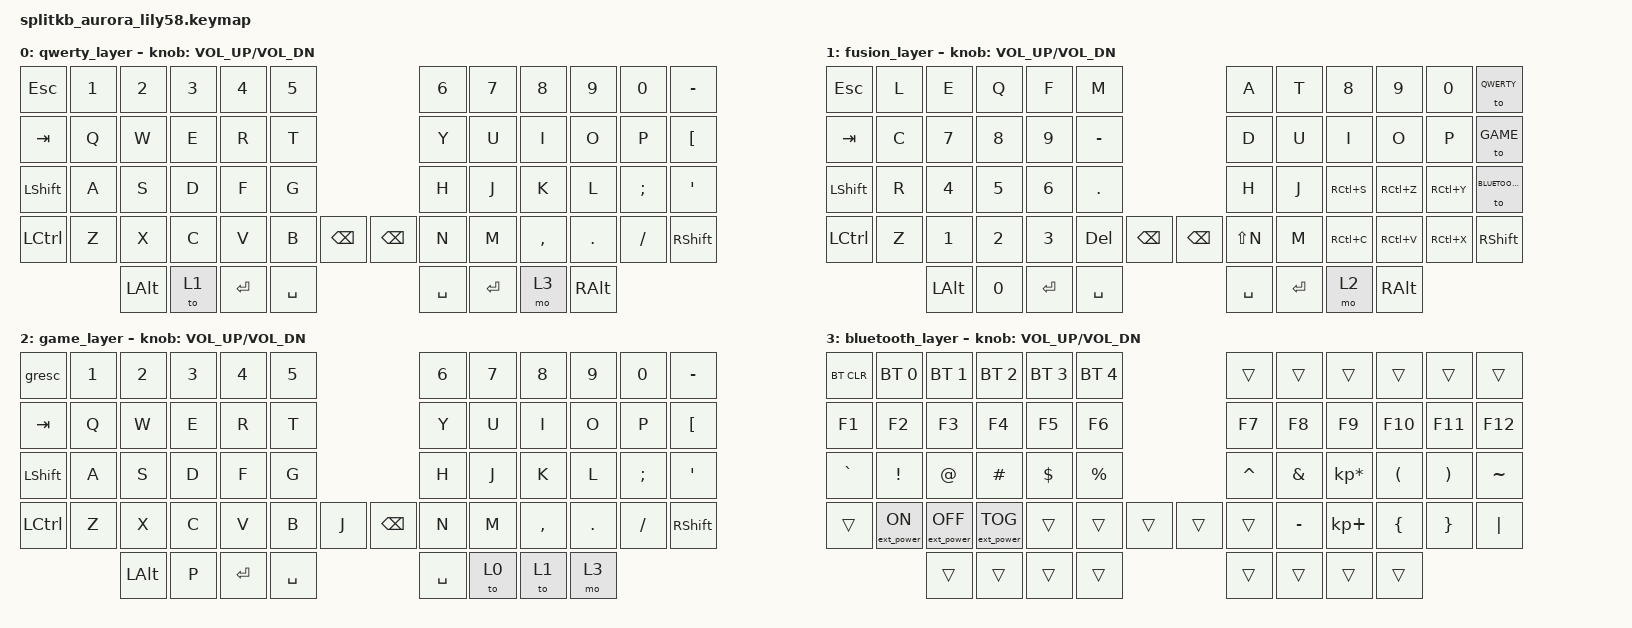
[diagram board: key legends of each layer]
/*
 * Copyright (c) 2022 The ZMK Contributors
 *
 * SPDX-License-Identifier: MIT
 */

#include <behaviors.dtsi>
#include <dt-bindings/zmk/keys.h>
#include <dt-bindings/zmk/bt.h>
#include <dt-bindings/zmk/ext_power.h>

#define QWERTY  0
#define FUSION  1
#define GAME  2
#define BLUETOOTH  3

&left_encoder { resolution = <1>; };

/ {

    keymap {
        compatible = "zmk,keymap";

        qwerty_layer {


// -------------------------------------------------------------------------------------------------------------
// |  ESC  |  1  |  2  |  3   |  4   |  5   |                     |  6   |  7    |  8    |  9   |   0   |   -   |
// |  TAB  |  Q  |  W  |  E   |  R   |  T   |                     |  Y   |  U    |  I    |  O   |   P   |   [   |
// | SHIFT |  A  |  S  |  D   |  F   |  G   |                     |  H   |  J    |  K    |  L   |   ;   |   '   |
// | CTRL  |  Z  |  X  |  C   |  V   |  B   |  BSPC    | |  BCPS  |  N   |  M    |  ,    |  .   |   /   | SHIFT |
//                 | ALT  | Fusion | ENTER|  SPACE |          | SPACE | ENTER| BLUE| ALT   |
            bindings = <
&kp ESC   &kp N1 &kp N2 &kp N3 &kp N4 &kp N5                        &kp N6 &kp N7 &kp N8    &kp N9  &kp N0   &kp MINUS
&kp TAB   &kp Q  &kp W  &kp E  &kp R  &kp T                         &kp Y  &kp U  &kp I     &kp O   &kp P    &kp LBKT
&kp LSHFT &kp A  &kp S  &kp D  &kp F  &kp G                         &kp H  &kp J  &kp K     &kp L   &kp SEMI &kp SQT
&kp LCTRL &kp Z  &kp X  &kp C  &kp V  &kp B   &kp BSPC    &kp BSPC  &kp N  &kp M  &kp COMMA &kp DOT &kp FSLH &kp RSHFT
                 &kp LALT &to 1  &kp RET  &kp SPACE           &kp SPACE       &kp RET &mo 3 &kp RALT
            >;

            sensor-bindings = <&inc_dec_kp C_VOL_UP C_VOL_DN>;
        };

fusion_layer {
// ------------------------------------------------------------------------------------------------------------------
// |  ESC  |  L  |  E  |  Q   |  F   |  M   |                   |    A   |   T   |   8   |   9   |   0   | QWERTY    |
// |  TAB  |  C  |  7  |  8   |  9   |  -   |                   |    D   |   U   |   I   |   O   |   P   | GAME      |
// | SHIFT |  R  |  4  |  5   |  6   |  .   |                   |    H   |   J   |  SAVE | UNDO  |  REDO | BLUETOOTH |
// | CTRL  |  Z  |  1  |  2   |  3   |  DEL |  BSPC  |  |  BCPS | SHFT=N |   M   |  COPY | PASTE |  CUT  | SHIFT     |
//                  | ALT  | 0 | ENTER|  SPACE |             | SPACE | ENTER| HIGHER| ALT   |
            bindings = <
&kp ESC   &kp L &kp E   &kp Q  &kp F   &kp M                       &kp A     &kp T   &kp N8    &kp N9    &kp N0    &to QWERTY
&kp TAB   &kp C &kp N7  &kp N8 &kp N9  &kp MINUS                   &kp D     &kp U   &kp I     &kp O     &kp P     &to GAME
&kp LSHFT &kp R &kp N4  &kp N5 &kp N6  &kp DOT                     &kp H     &kp J   &kp RC(S) &kp RC(Z) &kp RC(Y) &to BLUETOOTH
&kp LCTRL &kp Z &kp N1  &kp N2 &kp N3  &kp DEL &kp BSPC   &kp BSPC &kp LS(N) &kp M   &kp RC(C) &kp RC(V) &kp RC(X) &kp RSHFT
                &kp LALT &kp N0 &kp RET   &kp SPACE           &kp SPACE          &kp RET &mo 2 &kp RALT
            >;

            sensor-bindings = <&inc_dec_kp C_VOL_UP C_VOL_DN>;
        };
        
        game_layer {
// -------------------------------------------------------------------------------------------------------------------
// |    `    |  1  |  2  |  3  |  4  |  5  |                        |  6  |  7  |  8  |  9  |  0  |      |
// |   TAB   |  Q  |  W  |  E  |  R  |  T  |                        |  Y  |  U  |  I  |  O  |  P  |  [   |
// |   SHFT  |  A  |  S  |  D  |  F  |  G  |                        |  H  |  J  |  K  |  L  |  ;  |  ´   |
// |   CTRL  |  Z  |  X  |  C  |  V  |  B  |   J    |       | BSPC  |  N  |  M  |  ,  |  .  |  /  | SHFT |
//                 | LALT  |   P   |  RET  |  SPACE |       | SPACE | QWERTY | FUSION | BLUETOOTH |
            bindings = <
&gresc     &kp N1  &kp N2  &kp N3  &kp N4  &kp N5                       &kp N6  &kp N7  &kp N8    &kp N9  &kp N0   &kp MINUS
&kp TAB    &kp Q   &kp W   &kp E   &kp R   &kp T                        &kp Y   &kp U   &kp I     &kp O   &kp P    &kp LBKT
&kp LSHIFT &kp A   &kp S   &kp D   &kp F   &kp G                        &kp H   &kp J   &kp K     &kp L   &kp SEMI &kp SQT
&kp LCTRL  &kp Z   &kp X   &kp C   &kp V   &kp B   &kp J      &kp BSPC  &kp N   &kp M   &kp COMMA &kp DOT &kp FSLH &kp RSHFT
                        &kp LALT  &kp P  &kp RET   &kp SPACE  &kp SPACE  &to 0   &to 1   &mo 3
            >;

            sensor-bindings = <&inc_dec_kp C_VOL_UP C_VOL_DN>;
        };
        
        bluetooth_layer {
// ------------------------------------------------------------------------------------------------------------
// | BTCLR | BT1 | BT2 |  BT3 |  BT4 |  BT5 |                   |      |       |       |      |       |       |
// |  F1   |  F2 |  F3 |  F4  |  F5  |  F6  |                   |  F7  |  F8   |  F9   |  F10 |  F11  |  F12  |
// |   `   |  !  |  @  |  #   |  $   |  %   |                   |  ^   |  &    |  *    |  (   |   )   |   ~   |
// |       |     |     |      |      |      |        |  |       |      |  _    |  +    |  {   |   }   |  "|"  |
//                     |      |      |      |        |  |       |      |       |       |
            bindings = <
&bt BT_CLR &bt BT_SEL 0     &bt BT_SEL 1      &bt BT_SEL 2      &bt BT_SEL 3 &bt BT_SEL 4                 &trans    &trans    &trans          &trans    &trans    &trans
&kp F1     &kp F2           &kp F3            &kp F4            &kp F5       &kp F6                       &kp F7    &kp F8    &kp F9          &kp F10   &kp F11   &kp F12
&kp GRAVE  &kp EXCL         &kp AT            &kp HASH          &kp DOLLAR   &kp PRCNT                    &kp CARET &kp AMPS  &kp KP_MULTIPLY &kp LPAR  &kp RPAR  &kp TILDE
&trans     &ext_power EP_ON &ext_power EP_OFF &ext_power EP_TOG &trans       &trans    &trans   &trans    &trans    &kp MINUS &kp KP_PLUS     &kp LBRC  &kp RBRC  &kp PIPE
                                              &trans            &trans       &trans    &trans   &trans    &trans    &trans    &trans
            >;

            sensor-bindings = <&inc_dec_kp C_VOL_UP C_VOL_DN>;
        };

        
    };
};

